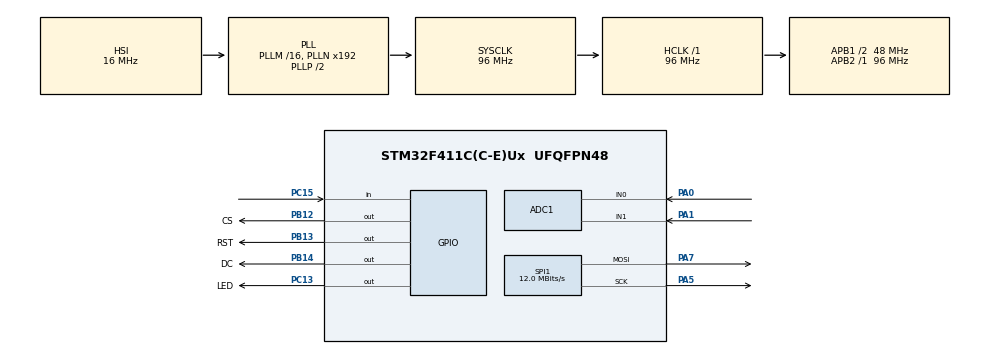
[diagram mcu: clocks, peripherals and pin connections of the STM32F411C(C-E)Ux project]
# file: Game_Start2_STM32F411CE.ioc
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ADC1.Channel-10\#ChannelRegularConversion=ADC_CHANNEL_1
ADC1.ContinuousConvMode=ENABLE
ADC1.DMAContinuousRequests=ENABLE
ADC1.DiscontinuousConvMode=DISABLE
ADC1.NbrOfConversion=2
ADC1.NbrOfConversionFlag=1
ADC1.Rank-10\#ChannelRegularConversion=2
ADC1.SamplingTime-10\#ChannelRegularConversion=ADC_SAMPLETIME_480CYCLES
ADC1.SamplingTime-7\#ChannelRegularConversion=ADC_SAMPLETIME_480CYCLES
ADC1.master=1
Dma.ADC1.0.Direction=DMA_PERIPH_TO_MEMORY
Dma.ADC1.0.FIFOMode=DMA_FIFOMODE_DISABLE
Dma.ADC1.0.Instance=DMA2_Stream0
Dma.ADC1.0.MemDataAlignment=DMA_MDATAALIGN_HALFWORD
Dma.ADC1.0.MemInc=DMA_MINC_ENABLE
Dma.ADC1.0.Mode=DMA_CIRCULAR
Dma.ADC1.0.PeriphDataAlignment=DMA_PDATAALIGN_HALFWORD
Dma.ADC1.0.PeriphInc=DMA_PINC_DISABLE
Dma.ADC1.0.Priority=DMA_PRIORITY_LOW
Dma.Request0=ADC1
FREERTOS.Tasks01=defaultTask,24,128,StartDefaultTask,Default,NULL,Dynamic,NULL,NULL
FREERTOS.configUSE_NEWLIB_REENTRANT=1
Mcu.Family=STM32F4
Mcu.Name=STM32F411C(C-E)Ux
Mcu.Package=UFQFPN48
NVIC.DMA2_Stream0_IRQn=true\:5\:0\:false\:false\:true\:true\:false\:true\:true
NVIC.PriorityGroup=NVIC_PRIORITYGROUP_4
NVIC.TIM4_IRQn=true\:15\:0\:false\:false\:true\:false\:false\:true\:true
NVIC.TimeBase=TIM4_IRQn
NVIC.TimeBaseIP=TIM4
PA0-WKUP.Signal=ADCx_IN0
PA1.Signal=ADCx_IN1
PA13.Mode=Serial_Wire
PA13.Signal=SYS_JTMS-SWDIO
PA14.Mode=Serial_Wire
PA14.Signal=SYS_JTCK-SWCLK
PA5.Mode=TX_Only_Simplex_Unidirect_Master
PA5.Signal=SPI1_SCK
PA7.Mode=TX_Only_Simplex_Unidirect_Master
PA7.Signal=SPI1_MOSI
PB12.GPIO_Label=CS
PB12.Signal=GPIO_Output
PB13.GPIO_Label=RST
PB13.Signal=GPIO_Output
PB14.GPIO_Label=DC
PB14.Signal=GPIO_Output
PC13-ANTI_TAMP.GPIO_Label=LED
PC13-ANTI_TAMP.Signal=GPIO_Output
PC15-OSC32_OUT.GPIO_PuPd=GPIO_PULLUP
PC15-OSC32_OUT.Signal=GPIO_Input
PH0\ -\ OSC_IN.Mode=HSE-External-Oscillator
PH0\ -\ OSC_IN.Signal=RCC_OSC_IN
PH1\ -\ OSC_OUT.Mode=HSE-External-Oscillator
PH1\ -\ OSC_OUT.Signal=RCC_OSC_OUT
ProjectManager.HeapSize=0x200
ProjectManager.StackSize=0x400
ProjectManager.TargetToolchain=STM32CubeIDE
RCC.48MHZClocksFreq_Value=48000000
RCC.AHBFreq_Value=96000000
RCC.APB1CLKDivider=RCC_HCLK_DIV2
RCC.APB1Freq_Value=48000000
RCC.APB1TimFreq_Value=96000000
RCC.APB2Freq_Value=96000000
RCC.APB2TimFreq_Value=96000000
RCC.CortexFreq_Value=96000000
RCC.HCLKFreq_Value=96000000
RCC.HSE_VALUE=25000000
RCC.HSI_VALUE=16000000
RCC.LSE_VALUE=32768
RCC.SYSCLKFreq_VALUE=96000000
RCC.SYSCLKSource=RCC_SYSCLKSOURCE_PLLCLK
RCC.VCOOutputFreq_Value=192000000
SH.ADCx_IN0.0=ADC1_IN0,IN0
SH.ADCx_IN1.0=ADC1_IN1,IN1
SPI1.BaudRatePrescaler=SPI_BAUDRATEPRESCALER_8
SPI1.CalculateBaudRate=12.0 MBits/s
SPI1.Direction=SPI_DIRECTION_2LINES
SPI1.Mode=SPI_MODE_MASTER
SPI1.VirtualType=VM_MASTER
VP_FREERTOS_VS_CMSIS_V2.Mode=CMSIS_V2
VP_SYS_VS_tim4.Mode=TIM4
board=custom

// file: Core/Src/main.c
/* USER CODE BEGIN Header */
/**
  ******************************************************************************
  * @file           : main.c
  * @brief          : Main program body
  ******************************************************************************
  * @attention
  *
  * Copyright (c) 2024 STMicroelectronics.
  * All rights reserved.
  *
  * This software is licensed under terms that can be found in the LICENSE file
  * in the root directory of this software component.
  * If no LICENSE file comes with this software, it is provided AS-IS.
  *
  ******************************************************************************
  */
/* USER CODE END Header */
#include "main.h"
#include "cmsis_os.h"

/* USER CODE BEGIN Includes */
#include <string.h>
#include <stdlib.h>
#include "stdio.h"
#include "atraso.h"
#include "defPrincipais.h"
#include "PRNG_LFSR.h"
#include "st7735.h"

/* USER CODE END Includes */

ADC_HandleTypeDef hadc1;
DMA_HandleTypeDef hdma_adc1;

SPI_HandleTypeDef hspi1;

/* Definitions for defaultTask */
osThreadId_t defaultTaskHandle;
const osThreadAttr_t defaultTask_attributes = {
  .name = "defaultTask",
  .stack_size = 128 * 4,
  .priority = (osPriority_t) osPriorityNormal,
};
/* USER CODE BEGIN PV */

uint16_t ADC_buffer[2];
uint16_t valor_ADC[2];

volatile uint8_t tiro_ativo = 0;
volatile uint16_t tiro_x = 0;
volatile uint16_t tiro_y = 0;
volatile uint32_t nave_x = 70, nave_y = 70;

typedef struct {
    int x, y;
    int dx, dy;
    uint8_t tamanho; // 2 = grande, 1 = pequeno
    uint8_t ativo;
} Asteroide;

#define MAX_ASTEROIDES 5
Asteroide asteroides[MAX_ASTEROIDES]; // MAX_ASTEROIDES

/* USER CODE END PV */

void SystemClock_Config(void);
static void MX_GPIO_Init(void);
static void MX_DMA_Init(void);
static void MX_SPI1_Init(void);
static void MX_ADC1_Init(void);
void StartDefaultTask(void *argument);

/* USER CODE BEGIN 0 */

void HAL_ADC_ConvCpltCallback(ADC_HandleTypeDef *hadc)
{

	    valor_ADC[0]=ADC_buffer[0];
		valor_ADC[1]=ADC_buffer[1];
}

void gerar_asteroide_menor(int origem_x, int origem_y, int direcao) {
    for (int i = 0; i < MAX_ASTEROIDES; i++) {
        if (!asteroides[i].ativo) {
            asteroides[i].x = origem_x;
            asteroides[i].y = origem_y;
            asteroides[i].dx = direcao * 1;
            asteroides[i].dy = (direcao > 0) ? -1 : 1;
            asteroides[i].tamanho = 1;
            asteroides[i].ativo = 1;
            break;
        }
    }
}

void checar_colisao_tiro() {
    if (!tiro_ativo) return;

    for (int i = 0; i < MAX_ASTEROIDES; i++) {
        if (asteroides[i].ativo && colisao_tiro_asteroide(tiro_x, tiro_y, &asteroides[i])) {

            // Apaga o asteroide da tela
            ST7735_draw_figure(asteroides[i].x, asteroides[i].y,
                               (asteroides[i].tamanho == 2 ? asteroide_grande : asteroide_pequeno),
                               ST7735_BLACK);

            asteroides[i].ativo = 0;
            tiro_ativo = 0;

            // Gera 2 asteroides menores se o que explodiu era grande
            if (asteroides[i].tamanho == 2) {
                gerar_asteroide_menor(asteroides[i].x, asteroides[i].y, 1);
                gerar_asteroide_menor(asteroides[i].x, asteroides[i].y, -1);
            }
            break;
        }
    }
}

//---------------------------------------------------------------------------------------------------

//---------------------------------------------------------------------------------------------------
void vTask_Move_Nave(void *pvParameters)
{
	// Nave comeca em (70,70)

	uint32_t dif_eixoX, dif_eixoY;

	while(1)
	{
		ST7735_FillRectangle(nave_x, nave_y, 9, 9, ST7735_BLACK);

		dif_eixoX = valor_ADC[1]; // media_eixoX;
		dif_eixoY = valor_ADC[0]; //media_eixoY;

		if(dif_eixoX < 1800){   // aprox. 200 de segurança
			if(nave_x>0) nave_x--;
		}
		else if(dif_eixoX > 3800){ // 50 = Delta de tolerancia no deslocamento do eixo
			if(nave_x<150) nave_x++;
		}
		// ------------------------------------------------------------------------
		if(dif_eixoY < 1800){
			if(nave_y>0) nave_y--;
		}
		else if(dif_eixoY > 3800){
			if(nave_y<120) nave_y++;
		}
		// ------------------------------------------------------------------------
		ST7735_draw_figure(nave_x, nave_y, nave, ST7735_PINK);
		vTaskDelay(20);
	}
}
//---------------------------------------------------------------------------------------------------
void vTask_Move_Tiro(void *pvParameters)
{
    while(1){

        // Se o botão foi pressionado e não há tiro ativo, dispara da posição da nave
        if(!HAL_GPIO_ReadPin(GPIOC, GPIO_PIN_15) && tiro_ativo == 0) {
            tiro_x = nave_x + 4;
            tiro_y = nave_y;
            tiro_ativo = 1;
        }

        if(tiro_ativo == 1){
            // Apaga o tiro anterior
        	ST7735_FillRectangle(tiro_x, tiro_y, 5, 5,  ST7735_BLACK);

            // Atualiza posição do tiro (subindo)
            if(tiro_y > 0){
                tiro_y--; // move pra cima
                ST7735_DrawPixel(tiro_x, tiro_y, ST7735_YELLOW);
            } else{
                tiro_ativo = 0; // tiro saiu da tela
            }
        }

        vTaskDelay(20); // controla velocidade do tiro
    }
}
//---------------------------------------------------------------------------------------------------
void vTask_Print_ValorADC(void *pvParameters)
{
	while(1)
	{
		ST7735_WriteString(128, 50, "     ", Font_7x10, ST7735_GREEN, ST7735_BLACK);
		ST7735_write_nr(128, 10, valor_ADC[0], Font_7x10, ST7735_GREEN, ST7735_BLACK);

		ST7735_WriteString(128, 60, "     ", Font_7x10, ST7735_GREEN, ST7735_BLACK);
		ST7735_write_nr(128, 20, valor_ADC[1], Font_7x10, ST7735_GREEN, ST7735_BLACK);

		vTaskDelay(500);
	}
}
//---------------------------------------------------------------------------------------------------
/* USER CODE END 0 */

int main(void)
{

  /* USER CODE BEGIN 1 */
  uint32_t semente_PRNG=1;
  /* USER CODE END 1 */

  /* MCU Configuration--------------------------------------------------------*/

  /* Reset of all peripherals, Initializes the Flash interface and the Systick. */
  HAL_Init();

  /* Configure the system clock */
  SystemClock_Config();

  /* Initialize all configured peripherals */
  MX_GPIO_Init();
  MX_DMA_Init();
  MX_SPI1_Init();
  MX_ADC1_Init();
  /* USER CODE BEGIN 2 */

// inicializa LCD

  HAL_Delay(100);
  ST7735_Init();

  // Clear all black
  ST7735_FillScreen(ST7735_BLACK);

  ST7735_draw_figure(35, 20, pirata, ST7735_WHITE);

  ST7735_WriteString(42, 5,"Press Start!", Font_7x10, ST7735_RED, ST7735_BLACK);

  // --------------------------------------------------------------------------------------
  // inicializa nr. aleatorio e segue programção

  while(HAL_GPIO_ReadPin(GPIOC, GPIO_PIN_15))// quando pressionar a tecla come�a o jogo
  {
	  semente_PRNG++;
  }
  init_LFSR(semente_PRNG);	// inicializacao para geracao de numeros pseudoaleatorios

  ST7735_FillScreen(ST7735_BLACK);

  HAL_ADC_Start_DMA(&hadc1,(uint32_t*)ADC_buffer,2);

  /* USER CODE END 2 */

  /* Init scheduler */
  osKernelInitialize();

  /* Create the thread(s) */
  /* creation of defaultTask */
  defaultTaskHandle = osThreadNew(StartDefaultTask, NULL, &defaultTask_attributes);

  /* USER CODE BEGIN RTOS_THREADS */
  /* add threads, ... */

    xTaskCreate(vTask_Print_ValorADC, "ADC do Joystick", 256, NULL, osPriorityNormal, NULL);
  	xTaskCreate(vTask_Move_Tiro, "tiro", 256, NULL, osPriorityNormal, NULL);
  	xTaskCreate(vTask_Move_Nave, "nave_anda", 256, NULL, osPriorityAboveNormal, NULL);

  /* USER CODE END RTOS_THREADS */

  /* Start scheduler */
  osKernelStart();

  /* We should never get here as control is now taken by the scheduler */

  /* Infinite loop */
  while (1)
  {

  }
}

void SystemClock_Config(void)
{
  RCC_OscInitTypeDef RCC_OscInitStruct = {0};
  RCC_ClkInitTypeDef RCC_ClkInitStruct = {0};

  /** Configure the main internal regulator output voltage
  */
  __HAL_RCC_PWR_CLK_ENABLE();
  __HAL_PWR_VOLTAGESCALING_CONFIG(PWR_REGULATOR_VOLTAGE_SCALE1);

  /** Initializes the RCC Oscillators according to the specified parameters
  * in the RCC_OscInitTypeDef structure.
  */
  RCC_OscInitStruct.OscillatorType = RCC_OSCILLATORTYPE_HSI;
  RCC_OscInitStruct.HSIState = RCC_HSI_ON;
  RCC_OscInitStruct.HSICalibrationValue = RCC_HSICALIBRATION_DEFAULT;
  RCC_OscInitStruct.PLL.PLLState = RCC_PLL_ON;
  RCC_OscInitStruct.PLL.PLLSource = RCC_PLLSOURCE_HSI;
  RCC_OscInitStruct.PLL.PLLM = 16;
  RCC_OscInitStruct.PLL.PLLN = 192;
  RCC_OscInitStruct.PLL.PLLP = RCC_PLLP_DIV2;
  RCC_OscInitStruct.PLL.PLLQ = 4;
  if (HAL_RCC_OscConfig(&RCC_OscInitStruct) != HAL_OK)
  {
    Error_Handler();
  }

  /** Initializes the CPU, AHB and APB buses clocks
  */
  RCC_ClkInitStruct.ClockType = RCC_CLOCKTYPE_HCLK|RCC_CLOCKTYPE_SYSCLK
                              |RCC_CLOCKTYPE_PCLK1|RCC_CLOCKTYPE_PCLK2;
  RCC_ClkInitStruct.SYSCLKSource = RCC_SYSCLKSOURCE_PLLCLK;
  RCC_ClkInitStruct.AHBCLKDivider = RCC_SYSCLK_DIV1;
  RCC_ClkInitStruct.APB1CLKDivider = RCC_HCLK_DIV2;
  RCC_ClkInitStruct.APB2CLKDivider = RCC_HCLK_DIV1;

  if (HAL_RCC_ClockConfig(&RCC_ClkInitStruct, FLASH_LATENCY_3) != HAL_OK)
  {
    Error_Handler();
  }
}

static void MX_ADC1_Init(void)
{

  ADC_ChannelConfTypeDef sConfig = {0};

  /** Configure the global features of the ADC (Clock, Resolution, Data Alignment and number of conversion)
  */
  hadc1.Instance = ADC1;
  hadc1.Init.ClockPrescaler = ADC_CLOCK_SYNC_PCLK_DIV4;
  hadc1.Init.Resolution = ADC_RESOLUTION_12B;
  hadc1.Init.ScanConvMode = ENABLE;
  hadc1.Init.ContinuousConvMode = ENABLE;
  hadc1.Init.DiscontinuousConvMode = DISABLE;
  hadc1.Init.ExternalTrigConvEdge = ADC_EXTERNALTRIGCONVEDGE_NONE;
  hadc1.Init.ExternalTrigConv = ADC_SOFTWARE_START;
  hadc1.Init.DataAlign = ADC_DATAALIGN_RIGHT;
  hadc1.Init.NbrOfConversion = 2;
  hadc1.Init.DMAContinuousRequests = ENABLE;
  hadc1.Init.EOCSelection = ADC_EOC_SINGLE_CONV;
  if (HAL_ADC_Init(&hadc1) != HAL_OK)
  {
    Error_Handler();
  }

  /** Configure for the selected ADC regular channel its corresponding rank in the sequencer and its sample time.
  */
  sConfig.Channel = ADC_CHANNEL_0;
  sConfig.Rank = 1;
  sConfig.SamplingTime = ADC_SAMPLETIME_480CYCLES;
  if (HAL_ADC_ConfigChannel(&hadc1, &sConfig) != HAL_OK)
  {
    Error_Handler();
  }

  /** Configure for the selected ADC regular channel its corresponding rank in the sequencer and its sample time.
  */
  sConfig.Channel = ADC_CHANNEL_1;
  sConfig.Rank = 2;
  if (HAL_ADC_ConfigChannel(&hadc1, &sConfig) != HAL_OK)
  {
    Error_Handler();
  }

}

static void MX_SPI1_Init(void)
{

  /* SPI1 parameter configuration*/
  hspi1.Instance = SPI1;
  hspi1.Init.Mode = SPI_MODE_MASTER;
  hspi1.Init.Direction = SPI_DIRECTION_2LINES;
  hspi1.Init.DataSize = SPI_DATASIZE_8BIT;
  hspi1.Init.CLKPolarity = SPI_POLARITY_LOW;
  hspi1.Init.CLKPhase = SPI_PHASE_1EDGE;
  hspi1.Init.NSS = SPI_NSS_SOFT;
  hspi1.Init.BaudRatePrescaler = SPI_BAUDRATEPRESCALER_8;
  hspi1.Init.FirstBit = SPI_FIRSTBIT_MSB;
  hspi1.Init.TIMode = SPI_TIMODE_DISABLE;
  hspi1.Init.CRCCalculation = SPI_CRCCALCULATION_DISABLE;
  hspi1.Init.CRCPolynomial = 10;
  if (HAL_SPI_Init(&hspi1) != HAL_OK)
  {
    Error_Handler();
  }

}

static void MX_DMA_Init(void)
{

  /* DMA controller clock enable */
  __HAL_RCC_DMA2_CLK_ENABLE();

  /* DMA interrupt init */
  /* DMA2_Stream0_IRQn interrupt configuration */
  HAL_NVIC_SetPriority(DMA2_Stream0_IRQn, 5, 0);
  HAL_NVIC_EnableIRQ(DMA2_Stream0_IRQn);

}

static void MX_GPIO_Init(void)
{
  GPIO_InitTypeDef GPIO_InitStruct = {0};

  /* GPIO Ports Clock Enable */
  __HAL_RCC_GPIOC_CLK_ENABLE();
  __HAL_RCC_GPIOH_CLK_ENABLE();
  __HAL_RCC_GPIOA_CLK_ENABLE();
  __HAL_RCC_GPIOB_CLK_ENABLE();

  /*Configure GPIO pin Output Level */
  HAL_GPIO_WritePin(LED_GPIO_Port, LED_Pin, GPIO_PIN_RESET);

  /*Configure GPIO pin Output Level */
  HAL_GPIO_WritePin(GPIOB, CS_Pin|RST_Pin|DC_Pin, GPIO_PIN_RESET);

  /*Configure GPIO pin : LED_Pin */
  GPIO_InitStruct.Pin = LED_Pin;
  GPIO_InitStruct.Mode = GPIO_MODE_OUTPUT_PP;
  GPIO_InitStruct.Pull = GPIO_NOPULL;
  GPIO_InitStruct.Speed = GPIO_SPEED_FREQ_LOW;
  HAL_GPIO_Init(LED_GPIO_Port, &GPIO_InitStruct);

  /*Configure GPIO pin : PC15 */
  GPIO_InitStruct.Pin = GPIO_PIN_15;
  GPIO_InitStruct.Mode = GPIO_MODE_INPUT;
  GPIO_InitStruct.Pull = GPIO_PULLUP;
  HAL_GPIO_Init(GPIOC, &GPIO_InitStruct);

  /*Configure GPIO pins : CS_Pin RST_Pin DC_Pin */
  GPIO_InitStruct.Pin = CS_Pin|RST_Pin|DC_Pin;
  GPIO_InitStruct.Mode = GPIO_MODE_OUTPUT_PP;
  GPIO_InitStruct.Pull = GPIO_NOPULL;
  GPIO_InitStruct.Speed = GPIO_SPEED_FREQ_LOW;
  HAL_GPIO_Init(GPIOB, &GPIO_InitStruct);

}

void StartDefaultTask(void *argument)
{
  /* USER CODE BEGIN 5 */
  /* Infinite loop */
	while(1)
	{
		  HAL_GPIO_TogglePin(LED_GPIO_Port, LED_Pin);

		  osDelay(200);
	}
  /* USER CODE END 5 */
}

void HAL_TIM_PeriodElapsedCallback(TIM_HandleTypeDef *htim)
{
  if (htim->Instance == TIM4) {
    HAL_IncTick();
  }
}

void Error_Handler(void)
{
  __disable_irq();
  while (1)
  {
  }
}
